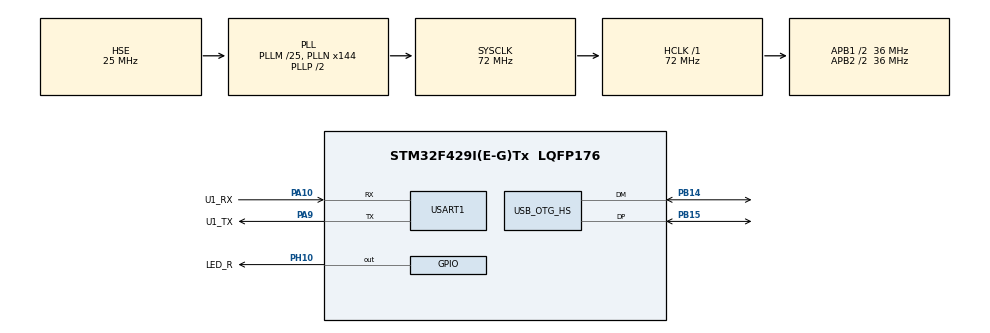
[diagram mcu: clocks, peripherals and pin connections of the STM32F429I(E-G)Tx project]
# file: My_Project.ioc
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Dma.Request0=USART1_RX
Dma.USART1_RX.0.Direction=DMA_PERIPH_TO_MEMORY
Dma.USART1_RX.0.FIFOMode=DMA_FIFOMODE_DISABLE
Dma.USART1_RX.0.Instance=DMA2_Stream2
Dma.USART1_RX.0.MemDataAlignment=DMA_MDATAALIGN_BYTE
Dma.USART1_RX.0.MemInc=DMA_MINC_ENABLE
Dma.USART1_RX.0.Mode=DMA_CIRCULAR
Dma.USART1_RX.0.PeriphDataAlignment=DMA_PDATAALIGN_BYTE
Dma.USART1_RX.0.PeriphInc=DMA_PINC_DISABLE
Dma.USART1_RX.0.Priority=DMA_PRIORITY_HIGH
FATFS._CODE_PAGE=936
FATFS._USE_LFN=2
Mcu.Family=STM32F4
Mcu.Name=STM32F429I(E-G)Tx
Mcu.Package=LQFP176
NVIC.DMA2_Stream2_IRQn=true\:0\:0\:false\:false\:true\:false\:true
NVIC.OTG_HS_IRQn=true\:0\:0\:false\:false\:true\:false\:true
NVIC.PriorityGroup=NVIC_PRIORITYGROUP_4
NVIC.USART1_IRQn=true\:3\:0\:true\:false\:true\:true\:true
PA10.GPIO_Label=U1_RX
PA10.Mode=Asynchronous
PA10.Signal=USART1_RX
PA13.Mode=Serial_Wire
PA13.Signal=SYS_JTMS-SWDIO
PA14.Mode=Serial_Wire
PA14.Signal=SYS_JTCK-SWCLK
PA9.GPIO_Label=U1_TX
PA9.Mode=Asynchronous
PA9.Signal=USART1_TX
PB14.Mode=Host_FS
PB14.Signal=USB_OTG_HS_DM
PB15.Mode=Host_FS
PB15.Signal=USB_OTG_HS_DP
PH0/OSC_IN.Mode=HSE-External-Oscillator
PH0/OSC_IN.Signal=RCC_OSC_IN
PH1/OSC_OUT.Mode=HSE-External-Oscillator
PH1/OSC_OUT.Signal=RCC_OSC_OUT
PH10.GPIO_Label=LED_R
PH10.GPIO_PuPd=GPIO_PULLUP
PH10.GPIO_Speed=GPIO_SPEED_FREQ_HIGH
PH10.PinState=GPIO_PIN_SET
PH10.Signal=GPIO_Output
ProjectManager.HeapSize=0x200
ProjectManager.StackSize=0x400
ProjectManager.TargetToolchain=MDK-ARM V5
RCC.48MHZClocksFreq_Value=48000000
RCC.AHBFreq_Value=72000000
RCC.APB1CLKDivider=RCC_HCLK_DIV2
RCC.APB1Freq_Value=36000000
RCC.APB1TimFreq_Value=72000000
RCC.APB2CLKDivider=RCC_HCLK_DIV2
RCC.APB2Freq_Value=36000000
RCC.APB2TimFreq_Value=72000000
RCC.CortexFreq_Value=72000000
RCC.HCLKFreq_Value=72000000
RCC.HSE_VALUE=25000000
RCC.HSI_VALUE=16000000
RCC.LSE_VALUE=32768
RCC.PLLM=25
RCC.PLLN=144
RCC.PLLQ=3
RCC.SYSCLKFreq_VALUE=72000000
RCC.SYSCLKSource=RCC_SYSCLKSOURCE_PLLCLK
RCC.VCOOutputFreq_Value=144000000
USART1.VirtualMode=VM_ASYNC
USB_HOST.USBH_HandleTypeDef-MSC_HS=hUsbHostHS
USB_HOST.VirtualModeHS=Msc
USB_OTG_HS.VirtualMode-Host_FS=Host_FS
VP_FATFS_VS_USB.Mode=USB
VP_USB_HOST_VS_USB_HOST_MSC_HS.Mode=MSC_HS
board=custom

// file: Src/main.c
/* USER CODE BEGIN Header */
/**
  ******************************************************************************
  * @file           : main.c
  * @brief          : Main program body
  ******************************************************************************
  * @attention
  *
  * <h2><center>&copy; Copyright (c) 2020 STMicroelectronics.
  * All rights reserved.</center></h2>
  *
  * This software component is licensed by ST under BSD 3-Clause license,
  * the "License"; You may not use this file except in compliance with the
  * License. You may obtain a copy of the License at:
  *                        opensource.org/licenses/BSD-3-Clause
  *
  ******************************************************************************
  */
/* USER CODE END Header */

#include "main.h"
#include "dma.h"
#include "fatfs.h"
#include "usart.h"
#include "usb_host.h"
#include "gpio.h"

/* USER CODE BEGIN PV */
uint8_t send_buf[3] = {1,2,3};
/* USER CODE END PV */

void SystemClock_Config(void);
void MX_USB_HOST_Process(void);

/* USER CODE BEGIN 0 */
extern ApplicationTypeDef Appli_state;

/* USER CODE END 0 */

int main(void)
{
  /* USER CODE BEGIN 1 */
    uint8_t wtext[] = "The site is STM32cube.com working with FatFs";
    uint32_t *wlen;
    FRESULT ret;
  /* USER CODE END 1 */

  /* MCU Configuration--------------------------------------------------------*/

  /* Reset of all peripherals, Initializes the Flash interface and the Systick. */
  HAL_Init();

  /* Configure the system clock */
  SystemClock_Config();

  /* Initialize all configured peripherals */
  MX_GPIO_Init();
  MX_DMA_Init();
  MX_USART1_UART_Init();
  MX_FATFS_Init();
  MX_USB_HOST_Init();
  /* USER CODE BEGIN 2 */
	__HAL_UART_ENABLE_IT(&huart1, UART_IT_IDLE);          //
	HAL_UART_Receive_DMA(&huart1,uart_recv_buf,1024);
	printf("hello pp\n");
  /* USER CODE END 2 */

  /* Infinite loop */
  while (1)
  {
    MX_USB_HOST_Process();

    /* USER CODE BEGIN 3 */
#if 0
		HAL_GPIO_TogglePin(LED_R_GPIO_Port, LED_R_Pin);
		HAL_Delay(1000);
#endif
        if(Appli_state == APPLICATION_READY) {
            printf("hello udisk\n");
            if(f_mount(&USBHFatFS,(TCHAR*)USBHPath,0) != FR_OK) {
                Error_Handler();
            } else {
                if(f_open(&USBHFile,"stm32.txt",FA_CREATE_ALWAYS|FA_WRITE) != FR_OK) {
                    Error_Handler();
                } else {
                    ret = f_write(&USBHFile,wtext,sizeof(wtext),(void*)&wlen);
                    if(wlen == 0 || ret != FR_OK) {
                        Error_Handler();
                    } else {
                        //ok
                        f_close(&USBHFile);
                        printf("write ok\n");
                    }
                }
            }
            Appli_state = APPLICATION_DISCONNECT;

        }

  }
  /* USER CODE END 3 */
}

void SystemClock_Config(void)
{
  RCC_OscInitTypeDef RCC_OscInitStruct = {0};
  RCC_ClkInitTypeDef RCC_ClkInitStruct = {0};

  /** Configure the main internal regulator output voltage
  */
  __HAL_RCC_PWR_CLK_ENABLE();
  __HAL_PWR_VOLTAGESCALING_CONFIG(PWR_REGULATOR_VOLTAGE_SCALE3);
  /** Initializes the CPU, AHB and APB busses clocks
  */
  RCC_OscInitStruct.OscillatorType = RCC_OSCILLATORTYPE_HSE;
  RCC_OscInitStruct.HSEState = RCC_HSE_ON;
  RCC_OscInitStruct.PLL.PLLState = RCC_PLL_ON;
  RCC_OscInitStruct.PLL.PLLSource = RCC_PLLSOURCE_HSE;
  RCC_OscInitStruct.PLL.PLLM = 25;
  RCC_OscInitStruct.PLL.PLLN = 144;
  RCC_OscInitStruct.PLL.PLLP = RCC_PLLP_DIV2;
  RCC_OscInitStruct.PLL.PLLQ = 3;
  if (HAL_RCC_OscConfig(&RCC_OscInitStruct) != HAL_OK)
  {
    Error_Handler();
  }
  /** Initializes the CPU, AHB and APB busses clocks
  */
  RCC_ClkInitStruct.ClockType = RCC_CLOCKTYPE_HCLK|RCC_CLOCKTYPE_SYSCLK
                              |RCC_CLOCKTYPE_PCLK1|RCC_CLOCKTYPE_PCLK2;
  RCC_ClkInitStruct.SYSCLKSource = RCC_SYSCLKSOURCE_PLLCLK;
  RCC_ClkInitStruct.AHBCLKDivider = RCC_SYSCLK_DIV1;
  RCC_ClkInitStruct.APB1CLKDivider = RCC_HCLK_DIV2;
  RCC_ClkInitStruct.APB2CLKDivider = RCC_HCLK_DIV2;

  if (HAL_RCC_ClockConfig(&RCC_ClkInitStruct, FLASH_LATENCY_2) != HAL_OK)
  {
    Error_Handler();
  }
}

void Error_Handler(void)
{
  /* USER CODE BEGIN Error_Handler_Debug */
  /* User can add his own implementation to report the HAL error return state */
    printf("err!!!\n");

  /* USER CODE END Error_Handler_Debug */
}

/************************ (C) COPYRIGHT STMicroelectronics *****END OF FILE****/
